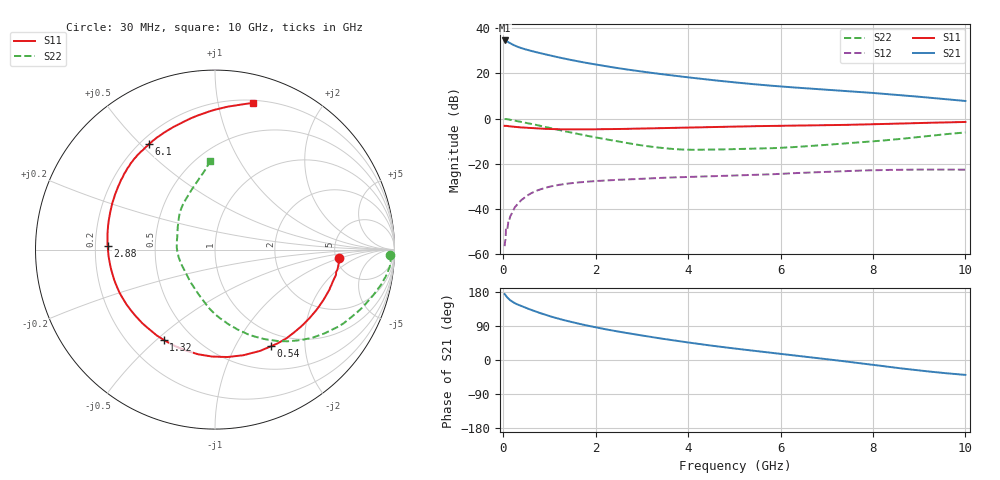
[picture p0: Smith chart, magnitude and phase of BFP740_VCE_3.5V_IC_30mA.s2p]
! Infineon Technologies  Discrete & RF Semiconductors
! BFP740
! VCE =  3.5 V,  IC =  30 mA
! Common Emitter S-Parameters:  Jan 2016
# GHz  S  MA  R  50
!  f  S11  S21  S12  S22
! GHz  MAG  ANG  MAG  ANG  MAG  ANG  MAG  ANG
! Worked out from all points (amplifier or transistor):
!   229 points, 30 MHz to 10 GHz, reference 50 ohm
!   highest |S21| = 34.6 dB at 30 MHz (marker M1)
!   |S21| within 3 dB of that: start of sweep to 336.3 MHz
!   unconditionally stable (mu >= 1): 6.155 GHz to 7.831 GHz; 8.06 GHz to 8.364 GHz; 9.073 GHz to 9.763 GHz (the widest 3 of 4)
!   at 280 MHz: K = 0.28, MSG = 35.3 dB, |S12| = -38.6 dB
!   at 1.78 GHz: K = 0.50, MSG = 26.4 dB, |S12| = -28.0 dB
!   at 10 GHz: K = 0.99, MSG = 15.2 dB, |S12| = -22.6 dB
!   S11 on the Smith chart (normalised r, x): 30 MHz: 5.34, -0.92; 540 MHz: 0.80, -1.41; 1.32 GHz: 0.35, -0.53; 2.88 GHz: 0.25, +0.01; 6.1 GHz: 0.23, +0.53; 10 GHz: 0.22, +1.26
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0.03  0.6924 -3.7  53.8 174.0  0.0015 101.4  0.9776 -1.7
0.06  0.6919 -8.1  52.69 169.0  0.0038 77.4  0.9793 -5.0
0.08  0.6864 -10.4  51.44 166.0  0.0036 79.1  0.972 -6.8
0.12  0.6792 -15.6  48.86 160.8  0.0057 77.9  0.956 -10.0
0.2  0.6661 -25.0  43.88 153.5  0.0084 76.0  0.9202 -15.7
0.26  0.6563 -31.6  41.02 149.4  0.0112 76.1  0.8954 -19.3
0.34  0.6451 -40.2  37.96 144.9  0.0139 72.3  0.8649 -23.9
0.54  0.622 -60.1  32.9 135.2  0.0204 62.4  0.7901 -34.4
0.7  0.6095 -74.9  29.86 128.0  0.0248 56.7  0.7316 -42.2
0.9  0.5962 -91.4  26.69 119.7  0.0292 50.5  0.6578 -50.9
1.1  0.5855 -105.9  23.93 112.2  0.0327 45.2  0.5909 -58.6
1.32  0.5782 -119.6  21.36 105.0  0.0355 40.7  0.5281 -66.0
1.7  0.5768 -139.4  17.91 94.0  0.0392 34.6  0.4393 -77.2
2.2  0.5847 -160.0  14.57 81.4  0.0424 28.8  0.3529 -91.2
2.88  0.5986 178.2  11.46 66.9  0.0462 23.8  0.2669 -109.7
3.4  0.614 164.6  9.743 56.9  0.0486 20.7  0.2267 -127.1
4.3  0.6467 145.3  7.572 41.2  0.0523 16.1  0.205 -159.9
5.1  0.6736 133.0  6.215 29.0  0.0554 13.3  0.2128 177.8
6.1  0.694 121.9  5.068 15.1  0.0608 10.0  0.2283 156.5
6.8  0.7099 113.9  4.5 5.1  0.0652 6.1  0.2539 143.6
8.4  0.7704 92.4  3.437 -19.0  0.0733 -5.4  0.34 115.6
10  0.8435 75.6  2.462 -39.3  0.0742 -15.5  0.4945 93.1
